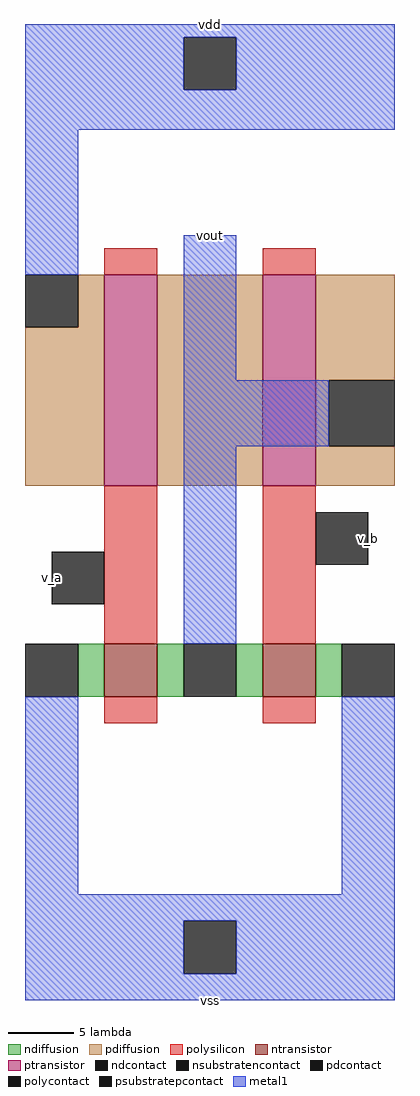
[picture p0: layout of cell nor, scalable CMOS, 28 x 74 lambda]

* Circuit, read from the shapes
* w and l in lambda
.subckt nor v_a v_b vdd vout vss
M1 vout v_a vss vss nfet w=4 l=4
M2 vss v_b vout vss nfet w=4 l=4
M3 n1 v_a vdd vdd pfet w=16 l=4
M4 vout v_b n1 vdd pfet w=16 l=4
.ends

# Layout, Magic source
magic
tech scmos
<< polysilicon >>
rect -6 -11 -2 -9
rect 6 -11 10 -9
rect -6 -39 -2 -27
rect 6 -39 10 -27
rect -6 -45 -2 -43
rect 6 -45 10 -43
<< ndiffusion >>
rect -8 -43 -6 -39
rect -2 -43 0 -39
rect 4 -43 6 -39
rect 10 -43 12 -39
<< pdiffusion >>
rect -8 -15 -6 -11
rect -12 -27 -6 -15
rect -2 -27 6 -11
rect 10 -19 16 -11
rect 10 -24 11 -19
rect 10 -27 16 -24
<< metal1 >>
rect -12 7 16 8
rect -12 3 0 7
rect 4 3 16 7
rect -12 0 16 3
rect -12 -11 -8 0
rect 0 -19 4 -8
rect 0 -24 11 -19
rect 0 -39 4 -24
rect -12 -58 -8 -43
rect 12 -58 16 -43
rect -12 -60 16 -58
rect -12 -64 0 -60
rect 4 -64 16 -60
rect -12 -66 16 -64
<< ntransistor >>
rect -6 -43 -2 -39
rect 6 -43 10 -39
<< ptransistor >>
rect -6 -27 -2 -11
rect 6 -27 10 -11
<< polycontact >>
rect -10 -36 -6 -32
rect 10 -33 14 -29
<< ndcontact >>
rect -12 -43 -8 -39
rect 0 -43 4 -39
rect 12 -43 16 -39
<< pdcontact >>
rect -12 -15 -8 -11
rect 11 -24 16 -19
<< psubstratepcontact >>
rect 0 -64 4 -60
<< nsubstratencontact >>
rect 0 3 4 7
<< labels >>
rlabel metal1 -12 8 16 8 1 vdd
rlabel metal1 0 -8 4 -8 1 vout
rlabel polycontact -10 -36 -10 -32 3 v_a
rlabel polycontact 14 -33 14 -29 7 v_b
rlabel metal1 -12 -66 16 -66 5 vss
<< end >>
